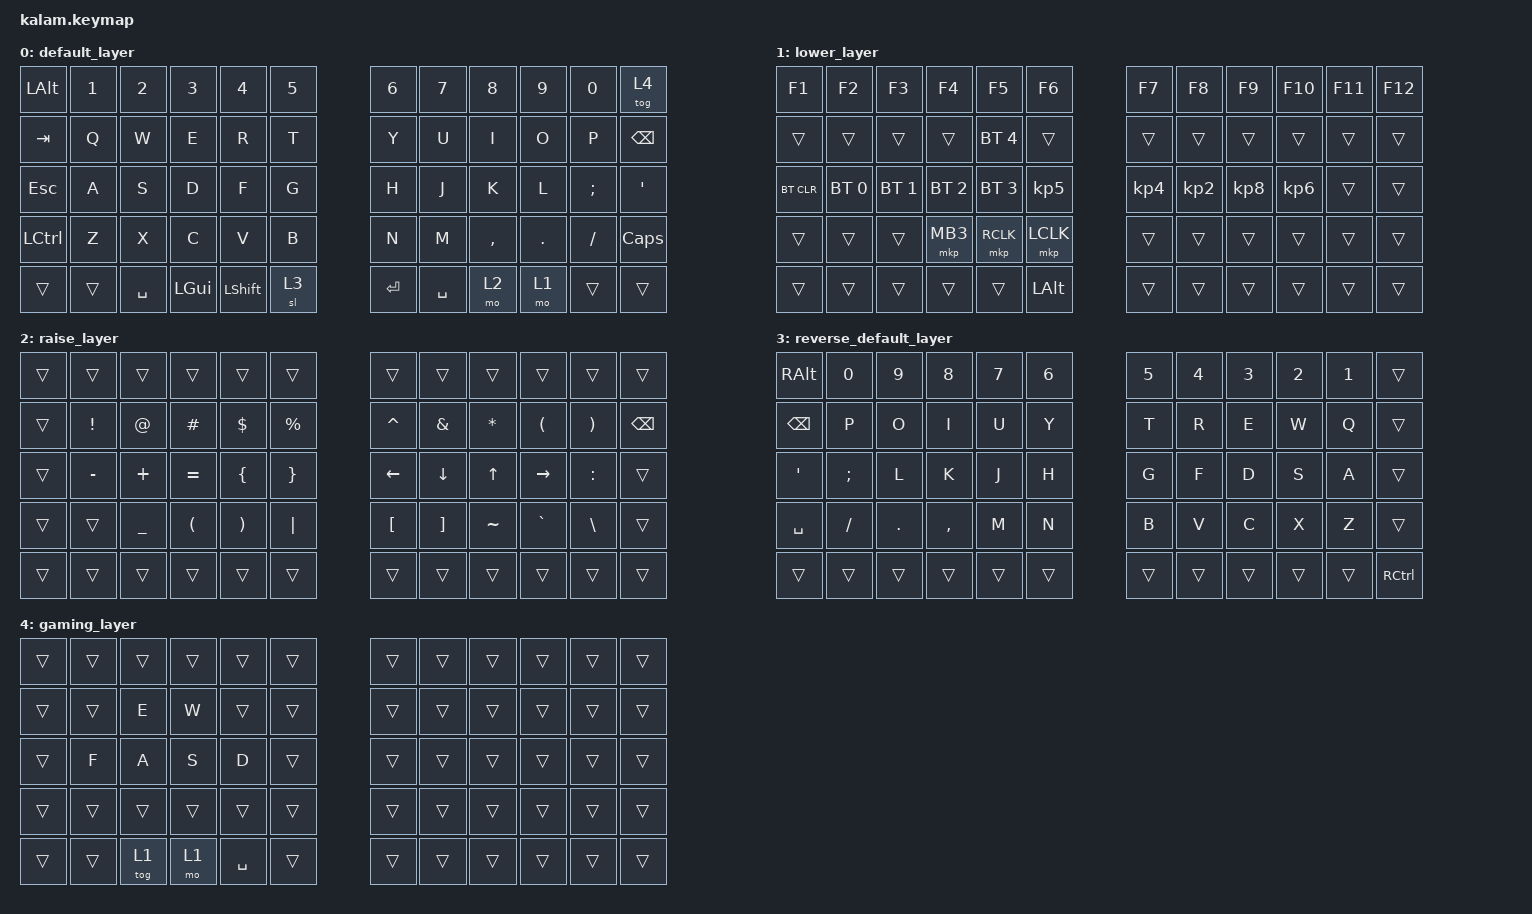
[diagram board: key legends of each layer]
/*
 * Copyright (c) 2020 The ZMK Contributors --- I (ala) completely changed the entire layout (except qwerty) but since I love ZMK im keeping the license, also idk if i should remove it cuz techincally I did start out with their
 * layout but i changed it a shit ton, so ig originality goes to ZMK. Anyways ily guys <3
 *
 * SPDX-License-Identifier: MIT
 */

#include <behaviors.dtsi>
#include <dt-bindings/zmk/keys.h>
#include <dt-bindings/zmk/bt.h>
#include <dt-bindings/zmk/pointing.h>

#define HYPR LC(LA(LS(LGUI)))
/ {
	keymap {
		compatible = "zmk,keymap";

		default_layer {
			// -----------------------------------------------------------------------------------------
// | LALT    |  1  |  2   |  3  |  4  |  5  |   |  6  |  7   |  8  |  9  |  0  | RALT |
// | TAB     |  Q  |  W   |  E  |  R  |  T  |   |  Y  |  U   |  I  |  O  |  P  | BSP  |
// | ESC     |  A  |  S   |  D  |  F  |  G  |   |  H  |  J   |  K  |  L  |  ;  | '    |
// | SHFT    |  Z  |  X   |  C  |  V  |  B  |   |  N  |  M   |  ,  |  .  |  /  | CAPS |
//                 | HYPR | GUI | SHT | CTR |   | ENT | SPC  | MO2 | MO1 |
                        bindings = <
   &kp LALT     &kp N1  &kp N2     &kp N3      &kp N4      &kp N5                   &kp N6     &kp N7     &kp N8     &kp N9    &kp N0    &tog 4
   &kp TAB      &kp Q   &kp W      &kp E       &kp R       &kp T                    &kp Y      &kp U      &kp I      &kp O     &kp P     &kp BSPC
   &kp ESC      &kp A   &kp S      &kp D       &kp F       &kp G                    &kp H      &kp J      &kp K      &kp L     &kp SEMI  &kp SQT
   &kp LCTRL    &kp Z   &kp X      &kp C       &kp V       &kp B                    &kp N      &kp M      &kp COMMA  &kp DOT   &kp FSLH  &kp CAPS
   &trans       &trans  &kp SPACE  &kp LGUI    &kp LSHIFT  &sl 3                    &kp ENTER  &kp SPACE  &mo 2      &mo 1     &trans    &trans
                        >;
                };
                lower_layer {
// -----------------------------------------------------------------------------------------
// |  F1  | F2  | F3  | F4  | F5  |  F6  | || | F7  | F8  | F9  | F10 | F11 |  F12 |
// |      |     |     |     | BT4 |      | || |     |     |     |     |     |      |
// | BTCLR| BT0 | BT1 | BT2 | BT3 | MUSP | || | LFT | DWN |  UP | RGT |     |      | // keypad for music
// |      |     |     |     |     |      | || |     |     |     |     |     |      |
//              |     |     |     |      | || |     |     |     |     |
                        bindings = <
   &kp F1     &kp F2       &kp F3       &kp F4       &kp F5        &kp F6               &kp F7     &kp F8    &kp F9    &kp F10   &kp F11 &kp F12
   &trans     &trans       &trans       &trans       &bt BT_SEL 4  &trans               &trans     &trans    &trans    &trans    &trans  &trans
   &bt BT_CLR &bt BT_SEL 0 &bt BT_SEL 1 &bt BT_SEL 2 &bt BT_SEL 3  &kp KP_N5            &kp KP_N4  &kp KP_N2 &kp KP_N8 &kp KP_N6 &trans  &trans
   &trans     &trans       &trans       &mkp MB3     &mkp RCLK     &mkp LCLK            &trans     &trans    &trans    &trans    &trans  &trans
   &trans     &trans       &trans       &trans       &trans        &kp LALT             &trans     &trans    &trans    &trans    &trans  &trans
                        >;
                };

                raise_layer {
// -----------------------------------------------------------------------------------------
// |      |     |     |     |     |     |   |     |     |     |     |     |      |
// |      |  !  |  @  |  #  |  $  |  %  |   |  ^  |  &  |  *  |  (  |  )  | BSPC |
// |      |  -  |  +  |  =  |  {  |  }  |   | <-  | -v  | -^  | ->  |  :  |      |
// |      |     |  _  |  (  |  )  | \|  |   |  [  |  ]  |  ~  |  `  | \\  |      |
//              |     |     |     |     |   |     |     |     |     |
                        bindings = <
   &trans     &trans     &trans     &trans     &trans     &trans               &trans    &trans      &trans     &trans      &trans     &trans
   &trans     &kp EXCL   &kp AT     &kp HASH   &kp DLLR   &kp PRCNT            &kp CARET &kp AMPS    &kp ASTRK  &kp LPAR    &kp RPAR   &kp BSPC
   &trans     &kp MINUS  &kp PLUS   &kp EQUAL  &kp LBRC   &kp RBRC             &kp LEFT  &kp DOWN    &kp UP     &kp RIGHT   &kp COLON  &trans 
   &trans     &trans     &kp UNDER  &kp LPAR   &kp RPAR   &kp PIPE             &kp LBKT  &kp RBKT    &kp TILDE  &kp GRAVE   &kp BSLH   &trans
   &trans     &trans     &trans     &trans     &trans     &trans               &trans    &trans      &trans     &trans      &trans     &trans
                        >;
                };

                reverse_default_layer {
			// reverse of characters in default (with some *)
                        bindings = <
   &kp RALT     &kp N0     &kp N9     &kp N8     &kp N7     &kp N6               &kp N5    &kp N4    &kp N3    &kp N2    &kp N1    &trans
   &kp BSPC     &kp P      &kp O      &kp I      &kp U      &kp Y                &kp T     &kp R     &kp E     &kp W     &kp Q     &trans
   &kp SQT      &kp SEMI   &kp L      &kp K      &kp J      &kp H                &kp G     &kp F     &kp D     &kp S     &kp A     &trans
   &kp SPACE    &kp FSLH   &kp DOT    &kp COMMA  &kp M      &kp N                &kp B     &kp V     &kp C     &kp X     &kp Z     &trans
   &trans       &trans     &trans     &trans     &trans     &trans               &trans    &trans    &trans    &trans    &trans    &kp RCTRL
                        >;
                };

                gaming_layer {
                        bindings = <
   &trans    &trans   &trans     &trans      &trans       &trans                  &trans    &trans    &trans    &trans    &trans    &trans
   &trans    &trans   &kp E      &kp W       &trans       &trans                  &trans    &trans    &trans    &trans    &trans    &trans
   &trans    &kp F    &kp A      &kp S       &kp D        &trans                  &trans    &trans    &trans    &trans    &trans    &trans
   &trans    &trans   &trans     &trans      &trans       &trans                  &trans    &trans    &trans    &trans    &trans    &trans
   &trans    &trans   &tog 1     &mo 1       &kp SPACE    &trans                  &trans    &trans    &trans    &trans    &trans    &trans
                        >;
                };
        };

// Super (GUI) as defined in hyprland (or elsewhere):
// -----------------------------------------------------------------------------------------
// | HYPRPET | 1M1 | 2M1 | 3M1 | 4M1 | 5M1 |   | 6M1 | 7M1 | 8M1        | 9M1 | 10M1     |     |
// |         | Clo |     | Fox |     | Scs |   | Cpy |     | LangSwitch | Osu | Pet      |     | Pst?
// |         | Run | Tem | Clo | Max |     |   | <-- |  v  |  ^         | --> | ResetPet |     |
// |         | 1M2 | 2M2 | 3M2 | 4M2 | 5M2 |   | Wch | Wmu |            |     |          |     |
//                 |     | GUI |     |     |   |     |     | Run        |     |
};
